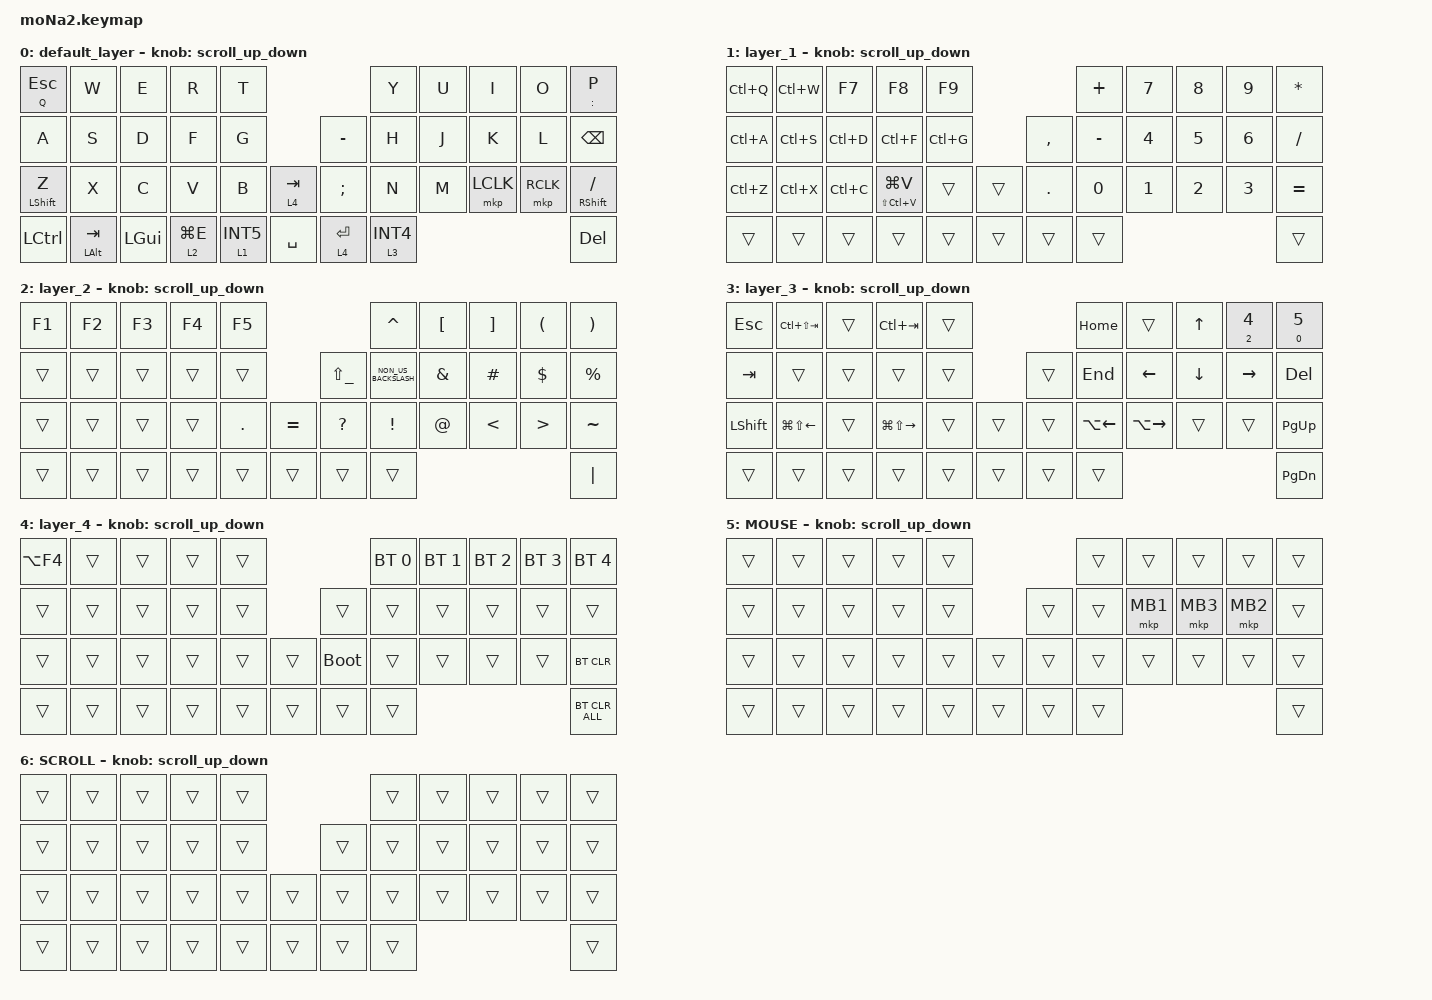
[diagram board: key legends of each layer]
#include <behaviors.dtsi>
#include <dt-bindings/zmk/bt.h>
#include <dt-bindings/zmk/keys.h>
#include <dt-bindings/zmk/pointing.h>

#define ZMK_POINTING_DEFAULT_SCRL_VAL 100
#define MOUSE 5
#define SCROLL 6

&mt {
    flavor = "balanced";
    quick-tap-ms = <0>;
};

/ {
    combos { compatible = "zmk,combos"; };

    macros {
        to_layer_0: to_layer_0 {
            compatible = "zmk,behavior-macro-one-param";
            #binding-cells = <1>;
            bindings = <&to 0 &macro_param_1to1 &kp MACRO_PLACEHOLDER>;
            label = "TO_LAYER_0";
        };
    };

    behaviors {
        lt_to_layer_0: lt_to_layer_0 {
            compatible = "zmk,behavior-hold-tap";
            label = "LAYER_TAP_TO_0";
            bindings = <&mo>, <&to_layer_0>;

            #binding-cells = <2>;
            tapping-term-ms = <200>;
        };

        scroll_up_down: behavior_sensor_rotate_mouse_wheel_up_down {
            compatible = "zmk,behavior-sensor-rotate";
            #sensor-binding-cells = <0>;
            bindings = <&msc SCRL_UP>, <&msc SCRL_DOWN>;

            tap-ms = <20>;
        };
    };

    keymap {
        compatible = "zmk,keymap";

        default_layer {
            bindings = <
&mt Q ESC         &kp W             &kp E         &kp R        &kp T                                   &kp Y       &kp U  &kp I      &kp O      &mt COLON P
&kp A             &kp S             &kp D         &kp F        &kp G                    &kp MINUS      &kp H       &kp J  &kp K      &kp L      &kp BACKSPACE
&mt LEFT_SHIFT Z  &kp X             &kp C         &kp V        &kp B       &lt 4 TAB    &kp SEMICOLON  &kp N       &kp M  &mkp LCLK  &mkp RCLK  &mt RIGHT_SHIFT SLASH
&kp LCTRL         &mt LEFT_ALT TAB  &kp LEFT_GUI  &lt 2 LG(E)  &lt 1 INT5  &kp SPACE    &lt 4 ENTER    &lt 3 INT4                               &kp DEL
            >;

            sensor-bindings = <&scroll_up_down>;
        };

        layer_1 {
            bindings = <
&kp LC(Q)  &kp LC(W)  &kp F7     &kp F8               &kp F9                           &kp PLUS   &kp N7  &kp N8  &kp N9  &kp ASTERISK
&kp LC(A)  &kp LC(S)  &kp LC(D)  &kp LC(F)            &kp LC(G)            &kp COMMA   &kp MINUS  &kp N4  &kp N5  &kp N6  &kp SLASH
&kp LC(Z)  &kp LC(X)  &kp LC(C)  &mt LS(LC(V)) LG(V)  &trans     &trans    &kp PERIOD  &kp N0     &kp N1  &kp N2  &kp N3  &kp EQUAL
&trans     &trans     &trans     &trans               &trans     &trans    &trans      &trans                             &trans
            >;

            sensor-bindings = <&scroll_up_down>;
        };

        layer_2 {
            bindings = <
&kp F1  &kp F2  &kp F3  &kp F4  &kp F5                                       &kp CARET             &kp LEFT_BRACKET  &kp RIGHT_BRACKET  &kp LEFT_PARENTHESIS  &kp RIGHT_PARENTHESIS
&trans  &trans  &trans  &trans  &trans                   &kp LS(UNDERSCORE)  &kp NON_US_BACKSLASH  &kp AMPERSAND     &kp HASH           &kp DOLLAR            &kp PERCENT
&trans  &trans  &trans  &trans  &kp PERIOD  &kp EQUAL    &kp QUESTION        &kp EXCLAMATION       &kp AT            &kp LESS_THAN      &kp GREATER_THAN      &kp TILDE
&trans  &trans  &trans  &trans  &trans      &trans       &trans              &trans                                                                           &kp PIPE
            >;

            sensor-bindings = <&scroll_up_down>;
        };

        layer_3 {
            bindings = <
&kp ESCAPE      &kp LC(LS(TAB))         &trans  &kp LC(TAB)              &trans                    &kp HOME            &trans               &kp UP_ARROW    &mt N2 N4        &mt N0 N5
&kp TAB         &trans                  &trans  &trans                   &trans            &trans  &kp END             &kp LEFT_ARROW       &kp DOWN_ARROW  &kp RIGHT_ARROW  &kp DEL
&kp LEFT_SHIFT  &kp LG(LS(LEFT_ARROW))  &trans  &kp LG(LS(RIGHT_ARROW))  &trans  &trans    &trans  &kp LA(LEFT_ARROW)  &kp LA(RIGHT_ARROW)  &trans          &trans           &kp PAGE_UP
&trans          &trans                  &trans  &trans                   &trans  &trans    &trans  &trans                                                                    &kp PAGE_DOWN
            >;

            sensor-bindings = <&scroll_up_down>;
        };

        layer_4 {
            bindings = <
&kp LA(F4)  &trans  &trans  &trans  &trans                         &bt BT_SEL 0  &bt BT_SEL 1  &bt BT_SEL 2  &bt BT_SEL 3  &bt BT_SEL 4
&trans      &trans  &trans  &trans  &trans            &trans       &trans        &trans        &trans        &trans        &trans
&trans      &trans  &trans  &trans  &trans  &trans    &bootloader  &trans        &trans        &trans        &trans        &bt BT_CLR
&trans      &trans  &trans  &trans  &trans  &trans    &trans       &trans                                                  &bt BT_CLR_ALL
            >;

            sensor-bindings = <&scroll_up_down>;
        };

        MOUSE {
            bindings = <
&trans  &trans  &trans  &trans  &trans                    &trans  &trans    &trans    &trans    &trans
&trans  &trans  &trans  &trans  &trans            &trans  &trans  &mkp MB1  &mkp MB3  &mkp MB2  &trans
&trans  &trans  &trans  &trans  &trans  &trans    &trans  &trans  &trans    &trans    &trans    &trans
&trans  &trans  &trans  &trans  &trans  &trans    &trans  &trans                                &trans
            >;

            sensor-bindings = <&scroll_up_down>;
        };

        SCROLL {
            bindings = <
&trans  &trans  &trans  &trans  &trans                    &trans  &trans  &trans  &trans  &trans
&trans  &trans  &trans  &trans  &trans            &trans  &trans  &trans  &trans  &trans  &trans
&trans  &trans  &trans  &trans  &trans  &trans    &trans  &trans  &trans  &trans  &trans  &trans
&trans  &trans  &trans  &trans  &trans  &trans    &trans  &trans                          &trans
            >;

            sensor-bindings = <&scroll_up_down>;
        };
    };
};
